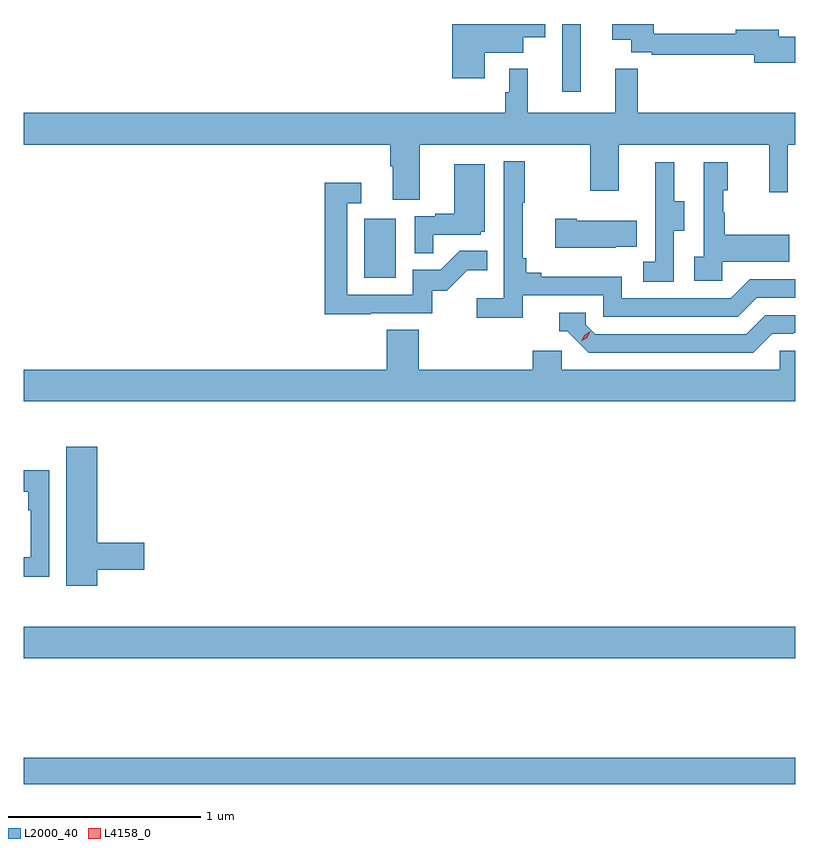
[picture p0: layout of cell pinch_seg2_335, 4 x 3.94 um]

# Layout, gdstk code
import gdstk
lib = gdstk.Library(unit=1e-6, precision=1e-09)
def R(c, l, rs):  # rectangles x0, y0, x1, y1
    for r in rs: c.add(gdstk.rectangle(r[:2], r[2:], *l))
def P(c, l, *ps):  # polygons
    for p in ps: c.add(gdstk.Polygon(p, *l))
L2000_40 = (2000, 40)
L4158_0 = (4158, 0)

pinch_seg2_335 = lib.new_cell('pinch_seg2_335')
R(pinch_seg2_335, L2000_40, [(1007.377,632.332,1011.377,632.468), (1007.377,632.984,1011.377,633.148), (1009.142,634.956,1009.306,635.263), (1010.169,635.922,1010.266,636.273)])
P(pinch_seg2_335, L2000_40, [(1011.377,636.206),(1011.292,636.206),(1011.292,636.242),(1011.068,636.242),(1011.068,636.222),(1010.644,636.222),(1010.644,636.273),(1010.429,636.273),(1010.429,636.191),(1010.528,636.191),(1010.528,636.126),(1010.632,636.126),(1010.632,636.114),(1011.164,636.114),(1011.164,636.071),(1011.377,636.071)],
  [(1009.768,636.125),(1009.966,636.125),(1009.966,636.203),(1010.08,636.203),(1010.08,636.273),(1009.598,636.273),(1009.598,635.991),(1009.768,635.991)],
  [(1009.429,635.648),(1010.314,635.648),(1010.314,635.409),(1010.461,635.409),(1010.461,635.648),(1011.242,635.648),(1011.242,635.4),(1011.339,635.4),(1011.339,635.648),(1011.377,635.648),(1011.377,635.812),(1010.561,635.812),(1010.561,636.041),(1010.444,636.041),(1010.444,635.812),(1009.991,635.812),(1009.991,636.04),(1009.893,636.04),(1009.893,635.919),(1009.873,635.919),(1009.873,635.812),(1007.377,635.812),(1007.377,635.648),(1009.277,635.648),(1009.277,635.536),(1009.289,635.536),(1009.289,635.362),(1009.429,635.362)],
  [(1009.964,634.866),(1010.382,634.866),(1010.382,634.755),(1011.079,634.755),(1011.178,634.854),(1011.377,634.854),(1011.377,634.95),(1011.141,634.95),(1011.042,634.851),(1010.478,634.851),(1010.478,634.963),(1010.059,634.963),(1010.059,634.982),(1009.982,634.982),(1009.982,635.059),(1009.963,635.059),(1009.963,635.347),(1009.975,635.347),(1009.975,635.56),(1009.866,635.56),(1009.866,634.852),(1009.725,634.852),(1009.725,634.75),(1009.964,634.75)],
  [(1010.748,635.2),(1010.803,635.2),(1010.803,635.355),(1010.749,635.355),(1010.749,635.557),(1010.651,635.557),(1010.651,635.343),(1010.652,635.343),(1010.652,635.039),(1010.589,635.039),(1010.589,634.936),(1010.748,634.936)],
  [(1011,635.039),(1011.347,635.039),(1011.347,635.179),(1011.013,635.179),(1011.013,635.294),(1011.003,635.294),(1011.003,635.412),(1011.028,635.412),(1011.028,635.557),(1010.904,635.557),(1010.904,635.066),(1010.853,635.066),(1010.853,634.941),(1011,634.941)],
  [(1009.499,635.181),(1009.746,635.181),(1009.746,635.196),(1009.768,635.196),(1009.768,635.545),(1009.61,635.545),(1009.61,635.29),(1009.511,635.29),(1009.511,635.277),(1009.404,635.277),(1009.404,635.083),(1009.499,635.083)],
  [(1009.175,634.773),(1009.494,634.773),(1009.494,634.89),(1009.57,634.89),(1009.677,634.997),(1009.781,634.997),(1009.781,635.096),(1009.637,635.096),(1009.539,634.998),(1009.395,634.998),(1009.395,634.869),(1009.053,634.869),(1009.053,635.343),(1009.126,635.343),(1009.126,635.449),(1008.937,635.449),(1008.937,634.768),(1009.175,634.768)],
  [(1010.447,635.117),(1010.555,635.117),(1010.555,635.254),(1010.245,635.254),(1010.245,635.262),(1010.133,635.262),(1010.133,635.114),(1010.447,635.114)],
  [(1011.259,634.668),(1011.366,634.668),(1011.366,634.671),(1011.377,634.671),(1011.377,634.764),(1011.222,634.764),(1011.123,634.665),(1010.34,634.665),(1010.292,634.713),(1010.292,634.776),(1010.153,634.776),(1010.153,634.68),(1010.196,634.68),(1010.307,634.569),(1011.16,634.569)],
  [(1009.259,634.688),(1009.259,634.48),(1007.377,634.48),(1007.377,634.316),(1011.377,634.316),(1011.377,634.578),(1011.297,634.578),(1011.297,634.48),(1010.166,634.48),(1010.166,634.578),(1010.015,634.578),(1010.015,634.48),(1009.424,634.48),(1009.424,634.688)],
  [(1007.758,633.442),(1008.001,633.442),(1008.001,633.584),(1007.758,633.584),(1007.758,634.081),(1007.597,634.081),(1007.597,633.36),(1007.758,633.36)],
  [(1007.508,633.958),(1007.377,633.958),(1007.377,633.848),(1007.399,633.848),(1007.399,633.752),(1007.412,633.752),(1007.412,633.507),(1007.377,633.507),(1007.377,633.406),(1007.508,633.406)])
P(pinch_seg2_335, L4158_0, [(1010.268,634.628),(1010.268,634.628),(1010.284,634.66),(1010.315,634.68),(1010.315,634.68),(1010.315,634.679),(1010.299,634.647),(1010.268,634.628)])

lib.write_gds('pinch_seg2_335.gds')
